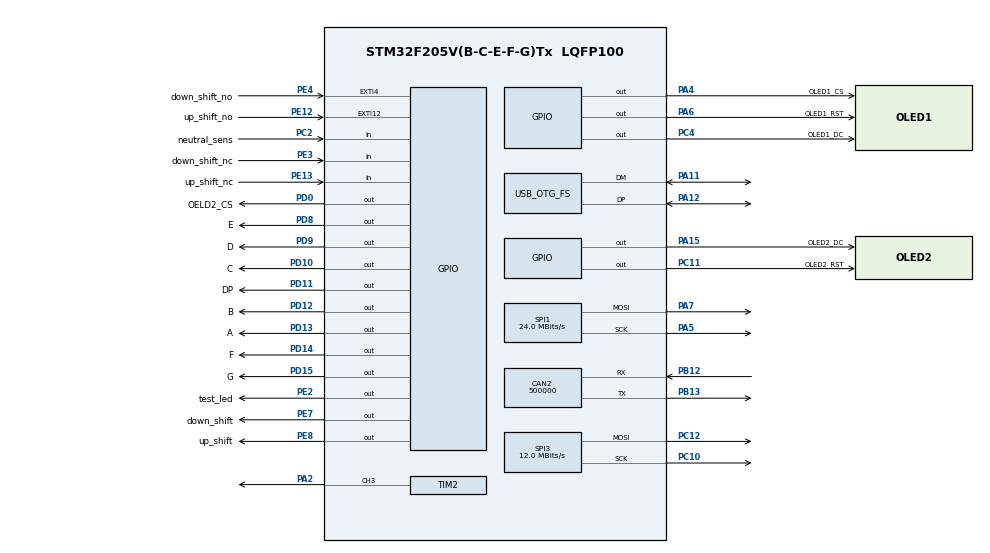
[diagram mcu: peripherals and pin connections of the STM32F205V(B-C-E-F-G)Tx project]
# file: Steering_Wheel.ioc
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CAN2.BS1=CAN_BS1_1TQ
CAN2.BS2=CAN_BS2_1TQ
CAN2.CalculateBaudRate=500000
CAN2.CalculateTimeBit=1999.99
CAN2.CalculateTimeQuantum=666.6666666666666
Dma.Request0=TIM2_UP/CH3
Dma.TIM2_UP/CH3.0.Direction=DMA_MEMORY_TO_PERIPH
Dma.TIM2_UP/CH3.0.FIFOMode=DMA_FIFOMODE_DISABLE
Dma.TIM2_UP/CH3.0.Instance=DMA1_Stream1
Dma.TIM2_UP/CH3.0.MemDataAlignment=DMA_MDATAALIGN_WORD
Dma.TIM2_UP/CH3.0.MemInc=DMA_MINC_ENABLE
Dma.TIM2_UP/CH3.0.Mode=DMA_CIRCULAR
Dma.TIM2_UP/CH3.0.PeriphDataAlignment=DMA_PDATAALIGN_WORD
Dma.TIM2_UP/CH3.0.PeriphInc=DMA_PINC_DISABLE
Dma.TIM2_UP/CH3.0.Priority=DMA_PRIORITY_LOW
Mcu.Family=STM32F2
Mcu.Name=STM32F205V(B-C-E-F-G)Tx
Mcu.Package=LQFP100
NVIC.DMA1_Stream1_IRQn=true\:0\:0\:false\:false\:true\:false\:true
NVIC.EXTI15_10_IRQn=true\:0\:0\:false\:false\:true\:true\:true
NVIC.EXTI4_IRQn=true\:0\:0\:false\:false\:true\:true\:true
NVIC.OTG_FS_IRQn=true\:0\:0\:false\:false\:true\:false\:true
NVIC.PriorityGroup=NVIC_PRIORITYGROUP_4
NVIC.TIM2_IRQn=true\:0\:0\:false\:false\:true\:true\:true
NVIC.TIM3_IRQn=true\:0\:0\:false\:false\:true\:true\:true
PA11.Mode=Device_Only
PA11.Signal=USB_OTG_FS_DM
PA12.Mode=Device_Only
PA12.Signal=USB_OTG_FS_DP
PA13.Mode=Serial_Wire
PA13.Signal=SYS_JTMS-SWDIO
PA14.Mode=Serial_Wire
PA14.Signal=SYS_JTCK-SWCLK
PA15.GPIO_Label=OLED2_DC
PA15.Signal=GPIO_Output
PA2.Signal=S_TIM2_CH3
PA4.GPIO_Label=OLED1_CS
PA4.Signal=GPIO_Output
PA5.Mode=TX_Only_Simplex_Unidirect_Master
PA5.Signal=SPI1_SCK
PA6.GPIO_Label=OLED1_RST
PA6.Signal=GPIO_Output
PA7.Mode=TX_Only_Simplex_Unidirect_Master
PA7.Signal=SPI1_MOSI
PB12.Mode=CAN_Activate
PB12.Signal=CAN2_RX
PB13.Mode=CAN_Activate
PB13.Signal=CAN2_TX
PC10.Mode=TX_Only_Simplex_Unidirect_Master
PC10.Signal=SPI3_SCK
PC11.GPIO_Label=OLED2_RST
PC11.Signal=GPIO_Output
PC12.Mode=TX_Only_Simplex_Unidirect_Master
PC12.Signal=SPI3_MOSI
PC2.GPIO_Label=neutral_sens
PC2.GPIO_PuPd=GPIO_PULLUP
PC2.Signal=GPIO_Input
PC4.GPIO_Label=OLED1_DC
PC4.Signal=GPIO_Output
PD0.GPIO_Label=OELD2_CS
PD0.Signal=GPIO_Output
PD10.GPIO_Label=C
PD10.Signal=GPIO_Output
PD11.GPIO_Label=DP
PD11.Signal=GPIO_Output
PD12.GPIO_Label=B
PD12.Signal=GPIO_Output
PD13.GPIO_Label=A
PD13.Signal=GPIO_Output
PD14.GPIO_Label=F
PD14.Signal=GPIO_Output
PD15.GPIO_Label=G
PD15.Signal=GPIO_Output
PD8.GPIO_Label=E
PD8.Signal=GPIO_Output
PD9.GPIO_Label=D
PD9.Signal=GPIO_Output
PE12.GPIO_Label=up_shift_no
PE12.Signal=GPXTI12
PE13.GPIO_Label=up_shift_nc
PE13.Signal=GPIO_Input
PE2.GPIO_Label=test_led
PE2.Signal=GPIO_Output
PE3.GPIO_Label=down_shift_nc
PE3.Signal=GPIO_Input
PE4.GPIO_Label=down_shift_no
PE4.Signal=GPXTI4
PE7.GPIO_Label=down_shift
PE7.GPIO_PuPd=GPIO_PULLDOWN
PE7.GPIO_Speed=GPIO_SPEED_FREQ_VERY_HIGH
PE7.Signal=GPIO_Output
PE8.GPIO_Label=up_shift
PE8.GPIO_Speed=GPIO_SPEED_FREQ_VERY_HIGH
PE8.Signal=GPIO_Output
ProjectManager.HeapSize=0x200
ProjectManager.StackSize=0x400
ProjectManager.TargetToolchain=STM32CubeIDE
RCC.48MHZClocksFreq_Value=48000000
RCC.AHBFreq_Value=96000000
RCC.APB1CLKDivider=RCC_HCLK_DIV4
RCC.APB1Freq_Value=24000000
RCC.APB1TimFreq_Value=48000000
RCC.APB2CLKDivider=RCC_HCLK_DIV2
RCC.APB2Freq_Value=48000000
RCC.APB2TimFreq_Value=96000000
RCC.CortexFreq_Value=96000000
RCC.HCLKFreq_Value=96000000
RCC.HSE_VALUE=25000000
RCC.HSI_VALUE=16000000
RCC.LSE_VALUE=32768
RCC.PLLM=8
RCC.PLLP=RCC_PLLP_DIV4
RCC.PLLQ=8
RCC.SYSCLKFreq_VALUE=96000000
RCC.SYSCLKSource=RCC_SYSCLKSOURCE_PLLCLK
RCC.VCOOutputFreq_Value=384000000
SH.S_TIM2_CH3.0=TIM2_CH3,PWM Generation3 CH3
SPI1.CalculateBaudRate=24.0 MBits/s
SPI1.Direction=SPI_DIRECTION_2LINES
SPI1.Mode=SPI_MODE_MASTER
SPI1.VirtualType=VM_MASTER
SPI3.BaudRatePrescaler=SPI_BAUDRATEPRESCALER_2
SPI3.CalculateBaudRate=12.0 MBits/s
SPI3.Direction=SPI_DIRECTION_2LINES
SPI3.Mode=SPI_MODE_MASTER
SPI3.VirtualType=VM_MASTER
TIM2.AutoReloadPreload=TIM_AUTORELOAD_PRELOAD_ENABLE
TIM2.Channel-PWM\ Generation3\ CH3=TIM_CHANNEL_3
TIM2.Period=59
TIM3.Period=47999
TIM3.Prescaler=999
USB_DEVICE.CLASS_NAME_FS=CDC
USB_DEVICE.VirtualMode-CDC_FS=Cdc
USB_DEVICE.VirtualModeFS=Cdc_FS
USB_OTG_FS.VirtualMode=Device_Only
VP_TIM2_VS_ClockSourceINT.Mode=Internal
VP_TIM3_VS_ClockSourceINT.Mode=Internal
VP_USB_DEVICE_VS_USB_DEVICE_CDC_FS.Mode=CDC_FS
board=custom

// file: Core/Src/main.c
/* USER CODE BEGIN Header */
/**
  ******************************************************************************
  * @file           : main.c
  * @brief          : Main program body
  ******************************************************************************
  * @attention
  *
  * <h2><center>&copy; Copyright (c) 2021 STMicroelectronics.
  * All rights reserved.</center></h2>
  *
  * This software component is licensed by ST under BSD 3-Clause license,
  * the "License"; You may not use this file except in compliance with the
  * License. You may obtain a copy of the License at:
  *                        opensource.org/licenses/BSD-3-Clause
  *
  ******************************************************************************
  */
/* USER CODE END Header */
#include "main.h"
#include "can.h"
#include "dma.h"
#include "spi.h"
#include "tim.h"
#include "usb_device.h"
#include "gpio.h"

void SystemClock_Config(void);

/* USER CODE BEGIN 0 */
#define LED_CFG_USE_RGBW                0       /*!< Set to 1 to use RGBW leds.
                                                    Set to 0 to use WS2812B leds */

#define LED_CFG_LEDS_CNT                8       /*!< Number of leds in a strip row */

#if LED_CFG_USE_RGBW
#define LED_CFG_BYTES_PER_LED           4
#else /* LED_CFG_USE_RGBW */
#define LED_CFG_BYTES_PER_LED           3
#endif /* !LED_CFG_USE_RGBW */

#define LED_CFG_RAW_BYTES_PER_LED       (LED_CFG_BYTES_PER_LED * 8)

/**
 * \brief           Array of 4x (or 3x) number of leds (R, G, B[, W] colors)
 */
static uint8_t leds_colors[LED_CFG_BYTES_PER_LED * LED_CFG_LEDS_CNT];

/**
 * \brief           Temporary array for dual LED with extracted PWM duty cycles
 *
 * We need LED_CFG_RAW_BYTES_PER_LED bytes for PWM setup to send all bits.
 * Before we can send data for first led, we have to send reset pulse, which must be 50us long.
 * PWM frequency is 800kHz, to achieve 50us, we need to send 40 pulses with 0 duty cycle = make array size MAX(2 * LED_CFG_RAW_BYTES_PER_LED, 40)
 */
static uint32_t tmp_led_data[2 * LED_CFG_RAW_BYTES_PER_LED];

static uint8_t          is_reset_pulse;     /*!< Status if we are sending reset pulse or led data */
static volatile uint8_t is_updating;        /*!< Is updating in progress? */
static uint32_t         current_led;        /*!< Current LED number we are sending */

void        led_init(void);
uint8_t     led_update(uint8_t block);

#if LED_CFG_USE_RGBW
uint8_t     led_set_color(size_t index, uint8_t r, uint8_t g, uint8_t b, uint8_t w);
uint8_t     led_set_color_all(uint8_t r, uint8_t g, uint8_t b, uint8_t w);
uint8_t     led_set_color_rgbw(size_t index, uint32_t rgbw);
uint8_t     led_set_color_all_rgbw(uint32_t rgbw);
#else /* LED_CFG_USE_RGBW */
uint8_t     led_set_color(size_t index, uint8_t r, uint8_t g, uint8_t b);
uint8_t     led_set_color_all(uint8_t r, uint8_t g, uint8_t b);
uint8_t     led_set_color_rgb(size_t index, uint32_t rgb);
uint8_t     led_set_color_all_rgb(uint32_t rgb);
#endif /* !LED_CFG_USE_RGBW */

uint8_t     led_is_update_finished(void);
static uint8_t     led_start_reset_pulse(uint8_t num);

/* USER CODE END 0 */

int main(void)
{

  /* MCU Configuration--------------------------------------------------------*/

  /* Reset of all peripherals, Initializes the Flash interface and the Systick. */
  HAL_Init();

  /* Configure the system clock */
  SystemClock_Config();

  /* Initialize all configured peripherals */
  MX_GPIO_Init();
  MX_DMA_Init();
  MX_CAN2_Init();
  MX_SPI1_Init();
  MX_SPI3_Init();
  MX_TIM2_Init();
  MX_USB_DEVICE_Init();
  MX_TIM3_Init();
  /* USER CODE BEGIN 2 */
  size_t i;
  volatile uint32_t timeout;

  led_init();
  led_set_color_all(255, 0, 0);
  //led_set_color(7, 0xFF, 0x00, 0x00);
  led_update(1);
  while(1){}
  /* USER CODE END 2 */

  /* Infinite loop */
  while (1)
  {

    /* USER CODE BEGIN 3 */
	  //led_set_color_all(0, 0, 0, 0);  led_update(1);   timeout = 0x3FFFFF;  while (timeout--);
  }
  /* USER CODE END 3 */
}

void SystemClock_Config(void)
{
  LL_FLASH_SetLatency(LL_FLASH_LATENCY_3);
  while(LL_FLASH_GetLatency()!= LL_FLASH_LATENCY_3)
  {
  }
  LL_RCC_HSI_Enable();

   /* Wait till HSI is ready */
  while(LL_RCC_HSI_IsReady() != 1)
  {

  }
  LL_RCC_HSI_SetCalibTrimming(16);
  LL_RCC_PLL_ConfigDomain_SYS(LL_RCC_PLLSOURCE_HSI, LL_RCC_PLLM_DIV_8, 192, LL_RCC_PLLP_DIV_4);
  LL_RCC_PLL_ConfigDomain_48M(LL_RCC_PLLSOURCE_HSI, LL_RCC_PLLM_DIV_8, 192, LL_RCC_PLLQ_DIV_8);
  LL_RCC_PLL_Enable();

   /* Wait till PLL is ready */
  while(LL_RCC_PLL_IsReady() != 1)
  {

  }
  LL_RCC_SetAHBPrescaler(LL_RCC_SYSCLK_DIV_1);
  LL_RCC_SetAPB1Prescaler(LL_RCC_APB1_DIV_4);
  LL_RCC_SetAPB2Prescaler(LL_RCC_APB2_DIV_2);
  LL_RCC_SetSysClkSource(LL_RCC_SYS_CLKSOURCE_PLL);

   /* Wait till System clock is ready */
  while(LL_RCC_GetSysClkSource() != LL_RCC_SYS_CLKSOURCE_STATUS_PLL)
  {

  }
  LL_SetSystemCoreClock(96000000);

   /* Update the time base */
  if (HAL_InitTick (TICK_INT_PRIORITY) != HAL_OK)
  {
    Error_Handler();
  }
}

/* USER CODE BEGIN 4 */
void led_init(void) {
    LL_TIM_InitTypeDef TIM_InitStruct;
    LL_TIM_OC_InitTypeDef TIM_OC_InitStruct;
    LL_GPIO_InitTypeDef GPIO_InitStruct;

    /* Peripheral clock enable */
    LL_APB1_GRP1_EnableClock(LL_APB1_GRP1_PERIPH_TIM2);
    LL_AHB1_GRP1_EnableClock(LL_AHB1_GRP1_PERIPH_GPIOB);
    LL_AHB1_GRP1_EnableClock(LL_AHB1_GRP1_PERIPH_DMA1);

    /* TIM2 DMA Init */

    /* TIM2_CH2 Init */
    LL_DMA_SetChannelSelection(DMA1, LL_DMA_STREAM_6, LL_DMA_CHANNEL_3);
    LL_DMA_SetDataTransferDirection(DMA1, LL_DMA_STREAM_6, LL_DMA_DIRECTION_MEMORY_TO_PERIPH);
    LL_DMA_SetStreamPriorityLevel(DMA1, LL_DMA_STREAM_6, LL_DMA_PRIORITY_LOW);
    LL_DMA_SetMode(DMA1, LL_DMA_STREAM_6, LL_DMA_MODE_CIRCULAR);
    LL_DMA_SetPeriphIncMode(DMA1, LL_DMA_STREAM_6, LL_DMA_PERIPH_NOINCREMENT);
    LL_DMA_SetMemoryIncMode(DMA1, LL_DMA_STREAM_6, LL_DMA_MEMORY_INCREMENT);
    LL_DMA_SetPeriphSize(DMA1, LL_DMA_STREAM_6, LL_DMA_PDATAALIGN_WORD);
    LL_DMA_SetMemorySize(DMA1, LL_DMA_STREAM_6, LL_DMA_MDATAALIGN_WORD);
    LL_DMA_DisableFifoMode(DMA1, LL_DMA_STREAM_6);

    /* Added by user */
    LL_DMA_SetPeriphAddress(DMA1, LL_DMA_STREAM_6, (uint32_t)&TIM2->CCR2);
    LL_DMA_EnableIT_TC(DMA1, LL_DMA_STREAM_6);
    LL_DMA_EnableIT_HT(DMA1, LL_DMA_STREAM_6);

    /* TIM2 interrupt Init */
    NVIC_SetPriority(TIM2_IRQn, NVIC_EncodePriority(NVIC_GetPriorityGrouping(), 0, 0));
    NVIC_EnableIRQ(TIM2_IRQn);

    TIM_InitStruct.Prescaler = 0;
    TIM_InitStruct.CounterMode = LL_TIM_COUNTERMODE_UP;
    TIM_InitStruct.Autoreload = 104;
    TIM_InitStruct.ClockDivision = LL_TIM_CLOCKDIVISION_DIV1;
    LL_TIM_Init(TIM2, &TIM_InitStruct);
    LL_TIM_OC_EnablePreload(TIM2, LL_TIM_CHANNEL_CH2);

    TIM_OC_InitStruct.OCMode = LL_TIM_OCMODE_PWM1;
    TIM_OC_InitStruct.OCState = LL_TIM_OCSTATE_DISABLE;
    TIM_OC_InitStruct.OCNState = LL_TIM_OCSTATE_DISABLE;
    TIM_OC_InitStruct.CompareValue = 0;
    TIM_OC_InitStruct.OCPolarity = LL_TIM_OCPOLARITY_HIGH;
    LL_TIM_OC_Init(TIM2, LL_TIM_CHANNEL_CH2, &TIM_OC_InitStruct);
    LL_TIM_OC_DisableFast(TIM2, LL_TIM_CHANNEL_CH2);
    LL_TIM_SetTriggerOutput(TIM2, LL_TIM_TRGO_RESET);
    LL_TIM_DisableMasterSlaveMode(TIM2);

    /**
     * TIM2 GPIO Configuration
     * PB3     ------> TIM2_CH2
     */
    GPIO_InitStruct.Pin = LL_GPIO_PIN_3;
    GPIO_InitStruct.Mode = LL_GPIO_MODE_ALTERNATE;
    GPIO_InitStruct.Speed = LL_GPIO_SPEED_FREQ_VERY_HIGH;
    GPIO_InitStruct.OutputType = LL_GPIO_OUTPUT_PUSHPULL;
    GPIO_InitStruct.Pull = LL_GPIO_PULL_NO;
    GPIO_InitStruct.Alternate = LL_GPIO_AF_1;
    LL_GPIO_Init(GPIOB, &GPIO_InitStruct);

    LL_TIM_OC_SetCompareCH2(TIM2, LL_TIM_GetAutoReload(TIM2) / 20 - 1); /* Set channel 1 compare register */
    LL_TIM_CC_EnableChannel(TIM2, LL_TIM_CHANNEL_CH2);  /* Enable output on channel */
    LL_TIM_EnableDMAReq_CC2(TIM2);              /* Enable DMA requests on channel 1 */

    /* DMA interrupt init */
    /* DMA1_Stream6_IRQn interrupt configuration */
    NVIC_SetPriority(DMA1_Stream6_IRQn, NVIC_EncodePriority(NVIC_GetPriorityGrouping(), 0, 0));
    NVIC_EnableIRQ(DMA1_Stream6_IRQn);
}

/**
 * \brief           Set R,G,B color for specific LED
 * \param[in]       index: LED index in array, starting from `0`
 * \param[in]       r,g,b: Red, Green, Blue values
 * \return          `1` on success, `0` otherwise
 */
uint8_t led_set_color(size_t index, uint8_t r, uint8_t g, uint8_t b
#if LED_CFG_USE_RGBW
, uint8_t w
#endif /* LED_CFG_USE_RGBW */
) {
    if (index < LED_CFG_LEDS_CNT) {
        leds_colors[index * LED_CFG_BYTES_PER_LED + 0] = r;
        leds_colors[index * LED_CFG_BYTES_PER_LED + 1] = g;
        leds_colors[index * LED_CFG_BYTES_PER_LED + 2] = b;
#if LED_CFG_USE_RGBW
        leds_colors[index * LED_CFG_BYTES_PER_LED + 3] = w;
#endif /* LED_CFG_USE_RGBW */
        return 1;
    }
    return 0;
}

uint8_t led_set_color_all(uint8_t r, uint8_t g, uint8_t b) {
    size_t index;
    for (index = 0; index < LED_CFG_LEDS_CNT; index++) {
        leds_colors[index * LED_CFG_BYTES_PER_LED + 0] = r;
        leds_colors[index * LED_CFG_BYTES_PER_LED + 1] = g;
        leds_colors[index * LED_CFG_BYTES_PER_LED + 2] = b;
    }
    return 1;
}

//uint8_t
//#if LED_CFG_USE_RGBW
//led_set_color_rgbw(size_t index, uint32_t rgbw) {
//#else /* LED_CFG_USE_RGBW */
//led_set_color_rgb(uint32_t index, uint32_t rgbw) {
//#endif /* !LED_CFG_USE_RGBW */
//    if (index < LED_CFG_LEDS_CNT) {
//        leds_colors[index * LED_CFG_BYTES_PER_LED + 0] = (rgbw >> 24) & 0xFF;
//        leds_colors[index * LED_CFG_BYTES_PER_LED + 1] = (rgbw >> 16) & 0xFF;
//        leds_colors[index * LED_CFG_BYTES_PER_LED + 2] = (rgbw >> 8) & 0xFF;
//#if LED_CFG_USE_RGBW
//        leds_colors[index * LED_CFG_BYTES_PER_LED + 3] = (rgbw >> 0) & 0xFF;
//#endif /* LED_CFG_USE_RGBW */
//        return 1;
//    }
//    return 0;
//}

//uint8_t
//#if LED_CFG_USE_RGBW
//led_set_color_all_rgbw(uint32_t rgbw) {
//#else /* LED_CFG_USE_RGBW */
//led_set_color_all_rgb(uint32_t rgbw) {
//#endif /* !LED_CFG_USE_RGBW */
//    size_t index;
//    for (index = 0; index < LED_CFG_LEDS_CNT; index++) {
//        leds_colors[index * LED_CFG_BYTES_PER_LED + 0] = (rgbw >> 24) & 0xFF;
//        leds_colors[index * LED_CFG_BYTES_PER_LED + 1] = (rgbw >> 16) & 0xFF;
//        leds_colors[index * LED_CFG_BYTES_PER_LED + 2] = (rgbw >> 8) & 0xFF;
//#if LED_CFG_USE_RGBW
//        leds_colors[index * LED_CFG_BYTES_PER_LED + 3] = (rgbw >> 0) & 0xFF;
//#endif /* LED_CFG_USE_RGBW */
//    }
//    return 1;
//}

/**
 * \brief           Check if update procedure is finished
 * \return          `1` if not updating, `0` if updating process is in progress
 */
uint8_t led_is_update_finished(void) {
    return !is_updating;                        /* Return updating flag status */
}

/**
 * \brief           Start LEDs update procedure
 * \param[in]       block: Set to `1` to block for update process until finished
 * \return          `1` if update started, `0` otherwise
 */
uint8_t led_update(uint8_t block) {
    if (is_updating) {                          /* Check if update in progress already */
        return 0;
    }
    is_updating = 1;                            /* We are now updating */

    led_start_reset_pulse(1);                   /* Start reset pulse */
    if (block) {
        while (!led_is_update_finished());      /* Wait to finish */
    }
    return 1;
}

/**
 * \brief           Prepares data from memory for PWM output for timer
 * \note            Memory is in format R,G,B, while PWM must be configured in G,R,B[,W]
 * \param[in]       ledx: LED index to set the color
 * \param[out]      ptr: Output array with at least LED_CFG_RAW_BYTES_PER_LED-words of memory
 */
static uint8_t led_fill_led_pwm_data(size_t ledx, uint32_t* ptr) {
    size_t i;

    if (ledx < LED_CFG_LEDS_CNT) {
        for (i = 0; i < 8; i++) {
            ptr[i] =        (leds_colors[LED_CFG_BYTES_PER_LED * ledx + 1] & (1 << (7 - i))) ? (2 * TIM2->ARR / 3) : (TIM2->ARR / 3);
            ptr[8 + i] =    (leds_colors[LED_CFG_BYTES_PER_LED * ledx + 0] & (1 << (7 - i))) ? (2 * TIM2->ARR / 3) : (TIM2->ARR / 3);
            ptr[16 + i] =   (leds_colors[LED_CFG_BYTES_PER_LED * ledx + 2] & (1 << (7 - i))) ? (2 * TIM2->ARR / 3) : (TIM2->ARR / 3);
#if LED_CFG_USE_RGBW
            ptr[24 + i] =   (leds_colors[LED_CFG_BYTES_PER_LED * ledx + 3] & (1 << (7 - i))) ? (2 * TIM2->ARR / 3) : (TIM2->ARR / 3);
#endif /* LED_CFG_USE_RGBW */
        }
        return 1;
    }
    return 0;
}

/**
 * \brief           Update sequence function, called on each DMA transfer complete or half-transfer complete events
 * \param[in]       tc: Transfer complete flag. Set to `1` on TC event, or `0` on HT event
 *
 * \note            TC = Transfer-Complete event, called at the end of block
 * \note            HT = Half-Transfer-Complete event, called in the middle of elements transfered by DMA
 *                  If block is 48 elements (our case),
 *                      HT is called when first LED_CFG_RAW_BYTES_PER_LED elements are transfered,
 *                      TC is called when second LED_CFG_RAW_BYTES_PER_LED elements are transfered.
 *
 * \note            This function must be called from DMA interrupt
 */
static void led_update_sequence(uint8_t tc) {
    tc = !!tc;                                  /* Convert to 1 or 0 value only */

    /* Check for reset pulse at the end of PWM stream */
    if (is_reset_pulse == 2) {                  /* Check for reset pulse at the end */
        LL_TIM_CC_DisableChannel(TIM2, LL_TIM_CHANNEL_CH2); /* Disable channel */
        LL_DMA_DisableStream(DMA1, LL_DMA_STREAM_6);    /* Disable DMA stream */

        is_updating = 0;                        /* We are not updating anymore */
        return;
    }

    /* Check for reset pulse on beginning of PWM stream */
    if (is_reset_pulse == 1) {                  /* Check if we finished with reset pulse */
        /*
         * When reset pulse is active, we have to wait full DMA response,
         * before we can start modifying array which is shared with DMA and PWM
         */
        if (!tc) {                              /* We must wait for transfer complete */
            return;                             /* Return and wait to finish */
        }

        /* Disable timer output and disable DMA stream */
        LL_TIM_CC_DisableChannel(TIM2, LL_TIM_CHANNEL_CH2); /* Disable channel */
        LL_DMA_DisableStream(DMA1, LL_DMA_STREAM_6);

        is_reset_pulse = 0;                     /* Not in reset pulse anymore */
        current_led = 0;                        /* Reset current led */
    } else {
        /*
         * When we are not in reset mode,
         * go to next led and process data for it
         */
        current_led++;                          /* Go to next LED */
    }

    /*
     * This part is used to prepare data for "next" led,
     * for which update will start once current transfer stops in circular mode
     */
    if (current_led < LED_CFG_LEDS_CNT) {
        /*
         * If we are preparing data for first time (current_led == 0)
         * or if there was no TC event (it was HT):
         *
         *  - Prepare first part of array, because either there is no transfer
         *      or second part (from HT to TC) is now in process for PWM transfer
         *
         * In other case (TC = 1)
         */
        if (current_led == 0 || !tc) {
            led_fill_led_pwm_data(current_led, &tmp_led_data[0]);
        } else {
            led_fill_led_pwm_data(current_led, &tmp_led_data[LED_CFG_RAW_BYTES_PER_LED]);
        }

        /*
         * If we are preparing first led (current_led = 0), then:
         *
         *  - We setup first part of array for first led,
         *  - We have to prepare second part for second led to have one led prepared in advance
         *  - Set DMA to circular mode and start the transfer + PWM output
         */
        if (current_led == 0) {
            current_led++;                      /* Go to next LED */
            led_fill_led_pwm_data(current_led, &tmp_led_data[LED_CFG_RAW_BYTES_PER_LED]);   /* Prepare second LED too */

            /* Set DMA to circular mode and set length to 48 elements for 2 leds */
            LL_DMA_SetMode(DMA1, LL_DMA_STREAM_6, LL_DMA_MODE_CIRCULAR);  /* Go to non-circular mode */
            LL_DMA_SetMemoryAddress(DMA1, LL_DMA_STREAM_6, (uint32_t)tmp_led_data);
            LL_DMA_SetDataLength(DMA1, LL_DMA_STREAM_6, 2 * LED_CFG_RAW_BYTES_PER_LED);

            /* Clear DMA flags */
            LL_DMA_ClearFlag_TC6(DMA1);
            LL_DMA_ClearFlag_HT6(DMA1);
            LL_DMA_EnableIT_HT(DMA1, LL_DMA_STREAM_6);
            LL_DMA_EnableStream(DMA1, LL_DMA_STREAM_6);
            LL_TIM_CC_EnableChannel(TIM2, LL_TIM_CHANNEL_CH2);  /* Enable channel */
        }

    /*
     * When we reached all leds, we have to wait to transmit data for all leds before we can disable DMA and PWM:
     *
     *  - If TC event is enabled and we have EVEN number of LEDS (2, 4, 6, ...)
     *  - If HT event is enabled and we have ODD number of LEDS (1, 3, 5, ...)
     */
    } else if ((!tc && (LED_CFG_LEDS_CNT & 0x01)) || (tc && !(LED_CFG_LEDS_CNT & 0x01))) {
        LL_TIM_CC_DisableChannel(TIM2, LL_TIM_CHANNEL_CH2); /* Disable channel */
        LL_DMA_DisableStream(DMA1, LL_DMA_STREAM_6);

        /* It is time to send final reset pulse, 50us at least */
        led_start_reset_pulse(2);                /* Start reset pulse at the end */
    }
}

/**
 * \brief           Start reset pulse sequence
 * \param[in]       num: Number indicating pulse is for beginning (1) or end (2) of PWM data stream
 */
static uint8_t led_start_reset_pulse(uint8_t num) {
    is_reset_pulse = num;                       /* Set reset pulse flag */

    memset(tmp_led_data, 0, sizeof(tmp_led_data));   /* Set all bytes to 0 to achieve 50us pulse */

    if (num == 1) {
        tmp_led_data[0] = TIM2->ARR / 2;
    }

    /* Set DMA to normal mode, set memory to beginning of data and length to 40 elements */
    /* 800kHz PWM x 40 samples = ~50us pulse low */
    LL_DMA_SetMode(DMA1, LL_DMA_STREAM_6, LL_DMA_MODE_NORMAL);  /* Go to non-circular mode */
    LL_DMA_SetMemoryAddress(DMA1, LL_DMA_STREAM_6, (uint32_t)tmp_led_data);
    LL_DMA_SetDataLength(DMA1, LL_DMA_STREAM_6, 40);

    /* Reset DMA configuration and enable stream */
    LL_DMA_ClearFlag_TC6(DMA1);
    LL_DMA_ClearFlag_HT6(DMA1);
    LL_DMA_DisableIT_HT(DMA1, LL_DMA_STREAM_6);
    LL_DMA_EnableIT_TC(DMA1, LL_DMA_STREAM_6);
    LL_DMA_EnableStream(DMA1, LL_DMA_STREAM_6);

    LL_TIM_CC_EnableChannel(TIM2, LL_TIM_CHANNEL_CH2);  /* Enable channel for timer */
    LL_TIM_EnableCounter(TIM2);                 /* Start timer counter */

    return 1;
}

void DMA1_Stream6_IRQHandler(void)
{
  /* USER CODE BEGIN DMA1_Stream6_IRQn 0 */
    if (LL_DMA_IsActiveFlag_HT6(DMA1)) {        /* Check for HT event */
        LL_DMA_ClearFlag_HT6(DMA1);
        led_update_sequence(0);                 /* Call update sequence as HT event */
    } else if (LL_DMA_IsActiveFlag_TC6(DMA1)) { /* Check for TC event */
        LL_DMA_ClearFlag_TC6(DMA1);
        led_update_sequence(1);                 /* Call update sequence as TC event */
    }
}
/* USER CODE END 4 */

void Error_Handler(void)
{
  __disable_irq();
  while (1)
  {
  }
}

/************************ (C) COPYRIGHT STMicroelectronics *****END OF FILE****/
